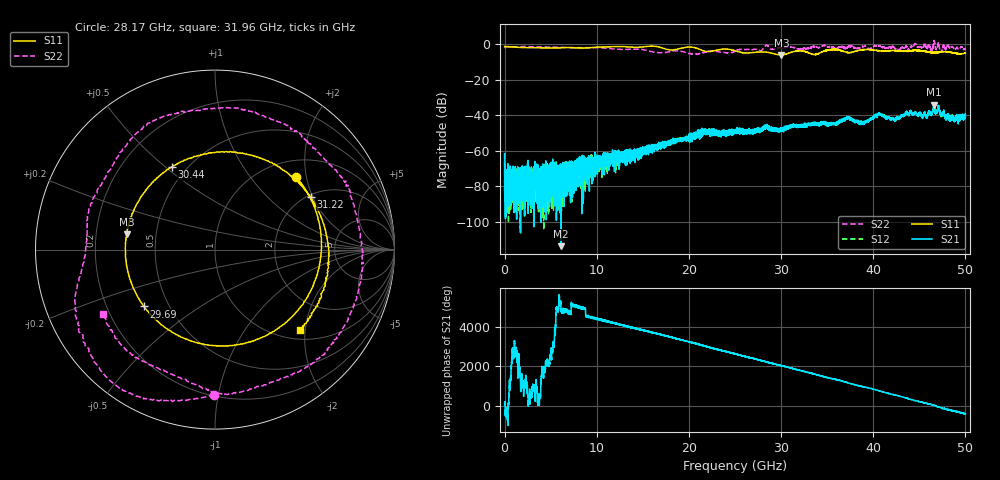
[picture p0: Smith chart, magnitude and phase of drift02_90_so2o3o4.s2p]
!Created with skrf (http://scikit-rf.org).
# Hz S RI R 50.0
!freq ReS11 ImS11 ReS21 ImS21 ReS12 ImS12 ReS22 ImS22
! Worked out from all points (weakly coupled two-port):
!   10001 points, 300 kHz to 50 GHz, reference 50 ohm
!   highest |S21| = -34.12 dB at 46.62 GHz (marker M1); lowest = -113.8 dB at 6.12 GHz (marker M2)
!   lowest |S11| = -6.1 dB at 30.05 GHz (marker M3), VSWR 2.98, Z = 16.9 + j3.82 ohm
!   |S11| at or under -10 dB: nowhere
!   |S22| runs from -5.7 to 2.1 dB; largest |S21 - S12| = 0.0038
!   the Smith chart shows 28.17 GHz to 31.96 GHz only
!   S11 on the Smith chart (normalised r, x): 28.17 GHz: 1.36, +1.75; 29.69 GHz: 0.36, -0.31; 30.44 GHz: 0.42, +0.53; 31.22 GHz: 2.08, +1.93; 31.96 GHz: 1.20, -1.88
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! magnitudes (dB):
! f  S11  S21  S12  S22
! 300 kHz  -1.3  -61.6  -61.3  -2.1
! 255.3 MHz  -1.4  -77.7  -87.0  -1.4
! 560.3 MHz  -1.4  -73.7  -74.8  -1.5
! 6.12 GHz  -2.0  -113.8  -77.6  -1.7
! 8.335 GHz  -2.2  -74.5  -73.6  -1.9
! 16.67 GHz  -1.5  -57.5  -57.0  -4.7
! 21.51 GHz  -3.5  -50.4  -49.6  -4.7
! 25 GHz  -3.7  -48.4  -48.6  -3.9
! 28.17 GHz  -4.3  -47.3  -47.0  -1.8
! 29.69 GHz  -5.9  -49.4  -48.0  -2.1
! 30.05 GHz  -6.1  -48.4  -48.2  -2.0
! 30.44 GHz  -5.7  -47.7  -47.3  -1.8
! 31.22 GHz  -4.3  -46.0  -46.1  -1.7
! 31.96 GHz  -3.7  -45.8  -45.7  -2.8
! 33.34 GHz  -5.5  -44.8  -44.8  -1.5
! 37.27 GHz  -4.7  -41.2  -41.2  -1.3
! 38.85 GHz  -3.0  -44.6  -44.0  -1.3
! 40.63 GHz  -3.6  -39.0  -39.1  -0.9
! 41.67 GHz  -3.6  -41.2  -41.3  -2.0
! 46.62 GHz  -4.5  -34.1  -35.1  2.0
! 48.55 GHz  -4.7  -40.2  -41.2  -1.5
! 50 GHz  -4.9  -39.7  -40.0  -2.7
